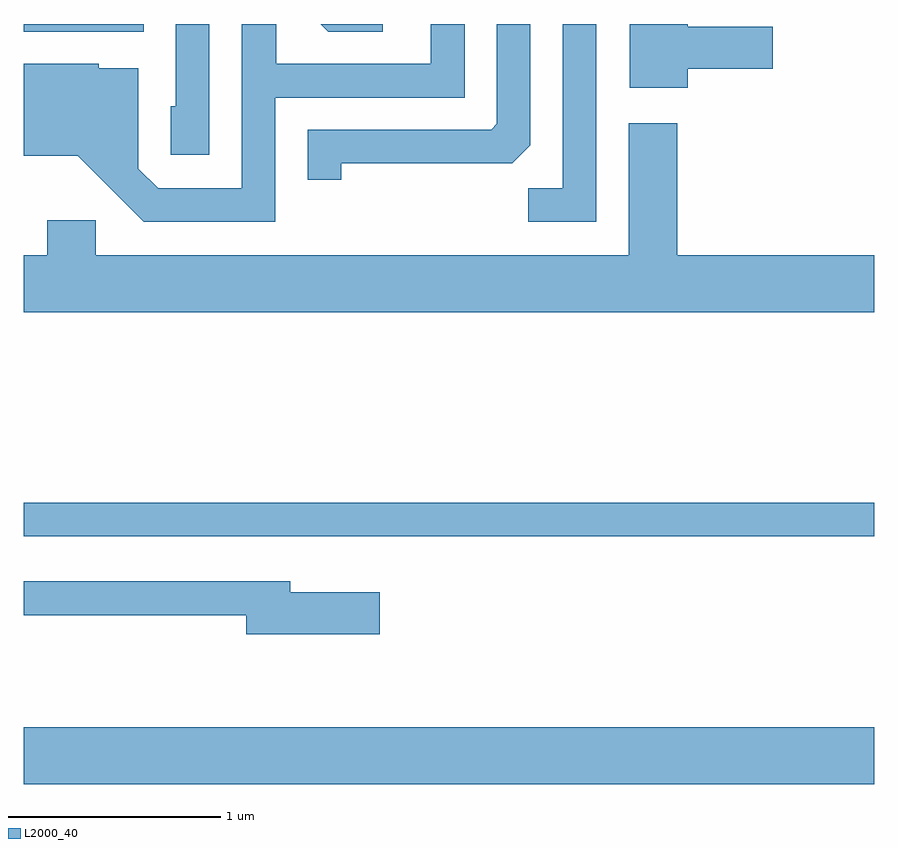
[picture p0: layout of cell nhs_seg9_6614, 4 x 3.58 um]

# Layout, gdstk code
import gdstk
lib = gdstk.Library(unit=1e-6, precision=1e-09)
def R(c, l, rs):  # rectangles x0, y0, x1, y1
    for r in rs: c.add(gdstk.rectangle(r[:2], r[2:], *l))
def P(c, l, *ps):  # polygons
    for p in ps: c.add(gdstk.Polygon(p, *l))
L2000_40 = (2000, 40)

nhs_seg9_6614 = lib.new_cell('nhs_seg9_6614')
R(nhs_seg9_6614, L2000_40, [(379.611,2062.856,383.611,2063.124), (379.611,2064.021,383.611,2064.179), (379.611,2066.396,380.174,2066.432)])
P(nhs_seg9_6614, L2000_40, [(381.299,2066.432),(381.008,2066.432),(381.044,2066.396),(381.299,2066.396)],
  [(382.304,2066.432),(382.146,2066.432),(382.146,2065.659),(381.983,2065.659),(381.983,2065.501),(382.304,2065.501)],
  [(380.484,2066.432),(380.326,2066.432),(380.326,2066.044),(380.301,2066.044),(380.301,2065.816),(380.484,2065.816)],
  [(380.794,2066.086),(381.684,2066.086),(381.684,2066.432),(381.526,2066.432),(381.526,2066.244),(380.799,2066.244),(380.799,2066.432),(380.636,2066.432),(380.636,2065.659),(380.242,2065.659),(380.149,2065.751),(380.149,2066.224),(379.964,2066.224),(379.964,2066.244),(379.611,2066.244),(379.611,2065.811),(379.864,2065.811),(380.174,2065.501),(380.794,2065.501)],
  [(382.734,2066.221),(383.134,2066.221),(383.134,2066.419),(382.734,2066.419),(382.734,2066.432),(382.461,2066.432),(382.461,2066.131),(382.734,2066.131)],
  [(381.104,2065.776),(381.909,2065.776),(381.994,2065.862),(381.994,2066.432),(381.836,2066.432),(381.836,2065.962),(381.809,2065.934),(380.946,2065.934),(380.946,2065.698),(381.104,2065.698)],
  [(383.611,2065.344),(382.684,2065.344),(382.684,2065.964),(382.456,2065.964),(382.456,2065.344),(379.949,2065.344),(379.949,2065.509),(379.721,2065.509),(379.721,2065.344),(379.611,2065.344),(379.611,2065.076),(383.611,2065.076)],
  [(381.284,2063.759),(380.864,2063.759),(380.864,2063.809),(379.611,2063.809),(379.611,2063.651),(380.656,2063.651),(380.656,2063.561),(381.284,2063.561)])

lib.write_gds('nhs_seg9_6614.gds')
